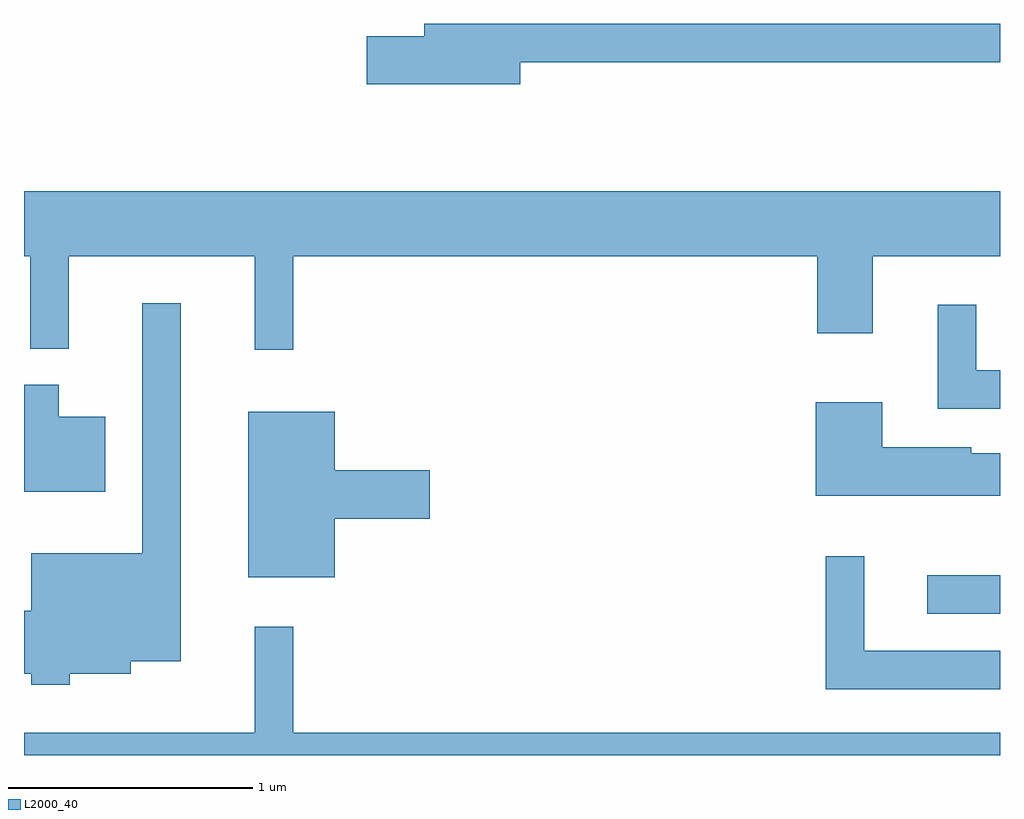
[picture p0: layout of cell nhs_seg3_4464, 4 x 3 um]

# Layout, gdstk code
import gdstk
lib = gdstk.Library(unit=1e-6, precision=1e-09)
def R(c, l, rs):  # rectangles x0, y0, x1, y1
    for r in rs: c.add(gdstk.rectangle(r[:2], r[2:], *l))
def P(c, l, *ps):  # polygons
    for p in ps: c.add(gdstk.Polygon(p, *l))
L2000_40 = (2000, 40)

nhs_seg3_4464 = lib.new_cell('nhs_seg3_4464')
R(nhs_seg3_4464, L2000_40, [(319.313,1204.471,319.611,1204.629)])
P(nhs_seg3_4464, L2000_40, [(317.644,1206.731),(319.611,1206.731),(319.611,1206.889),(317.251,1206.889),(317.251,1206.839),(317.016,1206.839),(317.016,1206.641),(317.644,1206.641)],
  [(316.714,1205.936),(318.861,1205.936),(318.861,1205.621),(319.089,1205.621),(319.089,1205.936),(319.611,1205.936),(319.611,1206.204),(315.611,1206.204),(315.611,1205.936),(315.636,1205.936),(315.636,1205.558),(315.794,1205.558),(315.794,1205.936),(316.556,1205.936),(316.556,1205.553),(316.714,1205.553)],
  [(315.799,1204.226),(316.049,1204.226),(316.049,1204.276),(316.254,1204.276),(316.254,1205.743),(316.096,1205.743),(316.096,1204.719),(315.641,1204.719),(315.641,1204.484),(315.611,1204.484),(315.611,1204.226),(315.641,1204.226),(315.641,1204.181),(315.799,1204.181)],
  [(319.611,1205.469),(319.514,1205.469),(319.514,1205.738),(319.356,1205.738),(319.356,1205.311),(319.611,1205.311)],
  [(315.944,1205.279),(315.754,1205.279),(315.754,1205.409),(315.611,1205.409),(315.611,1204.971),(315.944,1204.971)],
  [(319.611,1205.129),(319.494,1205.129),(319.494,1205.154),(319.129,1205.154),(319.129,1205.339),(318.856,1205.339),(318.856,1204.956),(319.611,1204.956)],
  [(316.884,1204.861),(317.274,1204.861),(317.274,1205.059),(316.884,1205.059),(316.884,1205.299),(316.531,1205.299),(316.531,1204.621),(316.884,1204.621)],
  [(319.611,1204.319),(319.054,1204.319),(319.054,1204.708),(318.896,1204.708),(318.896,1204.161),(319.611,1204.161)],
  [(319.611,1203.984),(316.714,1203.984),(316.714,1204.418),(316.556,1204.418),(316.556,1203.984),(315.611,1203.984),(315.611,1203.892),(319.611,1203.892)])

lib.write_gds('nhs_seg3_4464.gds')
